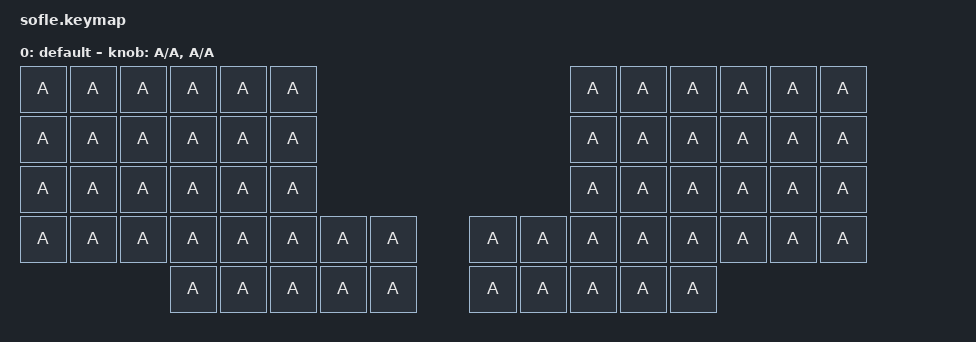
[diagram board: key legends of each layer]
/*
 * Copyright (c) 2020 The ZMK Contributors
 *
 * SPDX-License-Identifier: MIT
 */

#include <behaviors.dtsi>
#include <dt-bindings/zmk/keys.h>
#include <dt-bindings/zmk/bt.h>
#include <dt-bindings/zmk/rgb.h>
#include <dt-bindings/zmk/ext_power.h>

/ {

    keymap {
        compatible = "zmk,keymap";

        // CAPA DE TEST: TODAS las teclas imprimen "a" para comprobar que
        // cada switch hotswap está bien soldado.
        default_layer {
            display-name = "default";
            bindings = <
&kp A &kp A &kp A &kp A &kp A &kp A                        &kp A &kp A &kp A &kp A &kp A &kp A
&kp A &kp A &kp A &kp A &kp A &kp A                        &kp A &kp A &kp A &kp A &kp A &kp A
&kp A &kp A &kp A &kp A &kp A &kp A                        &kp A &kp A &kp A &kp A &kp A &kp A
&kp A &kp A &kp A &kp A &kp A &kp A &kp A &kp A           &kp A &kp A &kp A &kp A &kp A &kp A &kp A &kp A
             &kp A &kp A &kp A &kp A &kp A &kp A &kp A &kp A &kp A &kp A
            >;

            sensor-bindings = <&inc_dec_kp A A &inc_dec_kp A A>;
        };
    };
};
